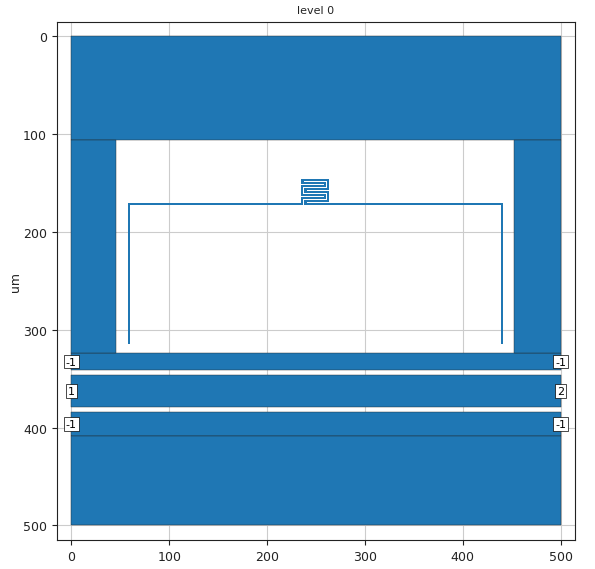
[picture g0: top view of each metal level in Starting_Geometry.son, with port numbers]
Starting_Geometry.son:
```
FTYP SONPROJ 19 ! Sonnet Project File
VER 18.58
HEADER
LIC maynooth60.1.87150
DAT 07/13/2024 12:47:48
BUILT_BY_CREATED xgeom 13.52 04/05/2012 11:22:39
BUILT_BY_SAVED sonnet 18.58
MDATE 05/24/2024 00:34:47
HDATE 05/24/2024 00:34:47
END HEADER
DIM
ANG DEG
CAP PF
CON /OH
FREQ GHZ
IND NH
LNG UM
RES OH
END DIM
CONTROL
VARSWP
OPTIONS  -dj
SPEED 2
CACHE_ABS 1
Q_ACC Y
DET_ABS_RES Y
END CONTROL
GEO
TMET "Lossless" 0 SUP 0 0 0 0
BMET "Lossless" 0 SUP 0 0 0 0
MET "superconductor" 1 SUP 0 0 0 5
BOX 1 500 500 1000 1000 20 0
      200 1 1 0 0 0 0 "Unnamed"
      450 11.8 1 0 0 0 0 "Unnamed"
LORGN 0 500 U 
POR1 BOX
POLY 12 1
3
1 50 0 0 0 4.9970235e-07 362.5000051 
POR1 BOX
POLY 12 1
1
2 50 0 0 0 500.0000345 362.5000038 
POR1 BOX
POLY 15 1
1
-1 50 0 0 0 499.9999636 396.5000146 
POR1 BOX
POLY 15 1
3
-1 50 0 0 0 5.047909215e-07 396.5000157 
POR1 BOX
POLY 242 1
1
-1 50 0 0 0 500 332.5 
POR1 BOX
POLY 242 1
3
-1 50 0 0 0 0 332.5 
NUM 28
0 5 0 N 12 1 1 100 100 0 0 0 Y
4.946137785e-07 346.0000006
500.0000345 345.9999994
500.0000345 379.0000083
5.047909215e-07 379.0000097
4.946137785e-07 346.0000006
END
0 5 0 N 15 1 1 100 100 0 0 0 Y
5.047909215e-07 384.0000113
499.9999636 384.0000103
499.9999636 409.0000188
5.047909215e-07 409.0000202
5.047909215e-07 384.0000113
END
0 5 0 N 18 1 1 100 100 0 0 0 Y
4.608999999e-06 409.0000082
500.0000085 409.0000072
500.0000085 499.9999709
4.608999999e-06 499.9999724
4.608999999e-06 409.0000082
END
0 5 0 N 22 1 1 100 100 0 0 0 Y
-1.650184243e-05 4.362391337e-06
500.0000001 4.362391337e-06
500.0000001 106
-1.650184243e-05 106
-1.650184243e-05 4.362391337e-06
END
0 5 0 N 118 1 1 100 100 0 0 0 Y
238 169.9999958
441 169.9999958
441 171.9999994
238 171.9999994
238 169.9999958
END
0 5 0 N 155 1 1 100 100 0 0 0 Y
58.0000163 169.9999958
237 169.9999958
237 171.9999994
58.0000163 171.9999994
58.0000163 169.9999958
END
0 5 0 N 178 1 1 100 100 0 0 0 Y
59.9999882 172
58.0000163 172
58.0000163 315
59.9999882 315
59.9999882 172
END
0 5 0 N 180 1 1 100 100 0 0 0 Y
441.0000272 172
439.0000078 172
439.0000078 315
441.0000272 315
441.0000272 172
END
0 5 0 N 479 1 1 100 100 0 0 0 Y
235 166
237 166
237 169.9999958
235 169.9999958
235 166
END
0 5 0 N 480 1 1 100 100 0 0 0 Y
238.0000082 167
263 167
263 168.9999958
238.0000082 168.9999958
238.0000082 167
END
0 5 0 N 484 1 1 100 100 0 0 0 Y
238.0000082 168.9999958
241.0000082 168.9999958
241.0000082 169.9999958
238.0000082 169.9999958
238.0000082 168.9999958
END
0 5 0 N 490 1 1 100 100 0 0 0 Y
235 164
258 164
258 166
235 166
235 164
END
0 5 0 N 495 1 1 100 100 0 0 0 Y
258 161
260 161
260 166
258 166
258 161
END
0 5 0 N 499 1 1 100 100 0 0 0 Y
261 158
263 158
263 167
261 167
261 158
END
0 5 0 N 519 1 1 100 100 0 0 0 Y
235 161
258 161
258 163
235 163
235 161
END
0 5 0 N 520 1 1 100 100 0 0 0 Y
238 158
261 158
261 159.9999958
238 159.9999958
238 158
END
0 5 0 N 522 1 1 100 100 0 0 0 Y
235 154
237 154
237 161
235 161
235 154
END
0 5 0 N 523 1 1 100 100 0 0 0 Y
238.0000082 155
263 155
263 156.9999958
238.0000082 156.9999958
238.0000082 155
END
0 5 0 N 524 1 1 100 100 0 0 0 Y
261 146
263 146
263 155
261 155
261 146
END
0 5 0 N 525 1 1 100 100 0 0 0 Y
258 149
260 149
260 154
258 154
258 149
END
0 5 0 N 526 1 1 100 100 0 0 0 Y
235 149
258 149
258 151
235 151
235 149
END
0 5 0 N 527 1 1 100 100 0 0 0 Y
235 152
258 152
258 154
235 154
235 152
END
0 5 0 N 528 1 1 100 100 0 0 0 Y
238.0000082 156.9999958
241.0000082 156.9999958
241.0000082 157.9999958
238.0000082 157.9999958
238.0000082 156.9999958
END
0 5 0 N 529 1 1 100 100 0 0 0 Y
235 146
261 146
261 147.9999958
235 147.9999958
235 146
END
0 5 0 N 531 1 1 100 100 0 0 0 Y
235 147.9999958
238 147.9999958
238 149
235 149
235 147.9999958
END
0 5 0 N 242 1 1 100 100 0 0 0 Y
0 324
500 324
500 341
0 341
0 324
END
0 5 0 N 206 1 1 100 100 0 0 0 Y
0 106
46 106
46 324
0 324
0 106
END
0 5 0 N 62 1 1 100 100 0 0 0 Y
452 106
500 106
500 324
452 324
452 106
END
END GEO
OPT
MAX 100
END OPT
VARSWP
ENABLED Y
FREQ Y AY ABS_ENTRY 7.99 8.01 -1 2000 
END
END VARSWP
FILEOUT
CSV D Y $BASENAME.csv NC 15 S MA R 50.00000
FOLDER .
END FILEOUT
TRANSLATOR
GDSEXPORT
UseTLs true
SepObj false
SepMat true
DivideMulti false
Circles false
CircleType inscribed
CircleSize 0
KeepMetals true
KeepVias false
KeepViaPads false
KeepBricks true
KeepEdgeVias false
KeepParent false
ConvertParent false
AllEdgeViasAsVia false
END
END TRANSLATOR
```
